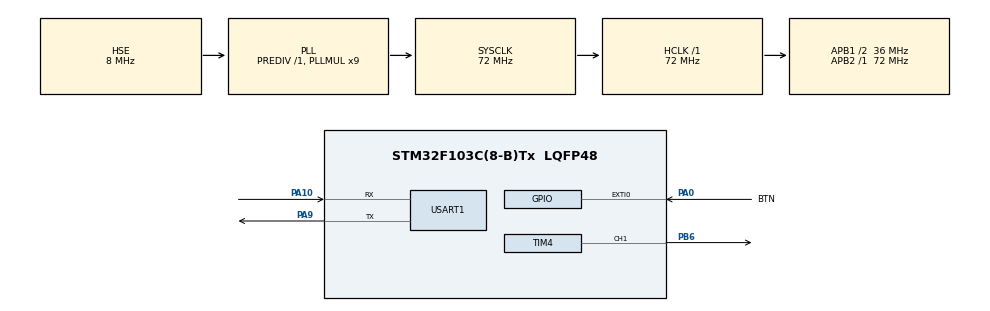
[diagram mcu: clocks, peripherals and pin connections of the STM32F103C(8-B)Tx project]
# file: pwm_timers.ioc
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Mcu.Family=STM32F1
Mcu.Name=STM32F103C(8-B)Tx
Mcu.Package=LQFP48
NVIC.EXTI0_IRQn=true\:0\:0\:false\:false\:true\:true\:true\:true
NVIC.PriorityGroup=NVIC_PRIORITYGROUP_4
NVIC.TIM4_IRQn=true\:0\:0\:false\:false\:true\:true\:true\:true
PA0-WKUP.GPIO_Label=BTN
PA0-WKUP.GPIO_ModeDefaultEXTI=GPIO_MODE_IT_RISING
PA0-WKUP.GPIO_PuPd=GPIO_PULLUP
PA0-WKUP.Signal=GPXTI0
PA10.Mode=Asynchronous
PA10.Signal=USART1_RX
PA13.Mode=Trace_Asynchronous_SW
PA13.Signal=SYS_JTMS-SWDIO
PA14.Mode=Trace_Asynchronous_SW
PA14.Signal=SYS_JTCK-SWCLK
PA9.Mode=Asynchronous
PA9.Signal=USART1_TX
PB3.Mode=Trace_Asynchronous_SW
PB3.Signal=SYS_JTDO-TRACESWO
PB6.Signal=S_TIM4_CH1
PD0-OSC_IN.Mode=HSE-External-Oscillator
PD0-OSC_IN.Signal=RCC_OSC_IN
PD1-OSC_OUT.Mode=HSE-External-Oscillator
PD1-OSC_OUT.Signal=RCC_OSC_OUT
ProjectManager.HeapSize=0x200
ProjectManager.StackSize=0x400
ProjectManager.TargetToolchain=CMake
RCC.AHBFreq_Value=72000000
RCC.APB1CLKDivider=RCC_HCLK_DIV2
RCC.APB1Freq_Value=36000000
RCC.APB1TimFreq_Value=72000000
RCC.APB2Freq_Value=72000000
RCC.APB2TimFreq_Value=72000000
RCC.HCLKFreq_Value=72000000
RCC.PLLMUL=RCC_PLL_MUL9
RCC.PLLSourceVirtual=RCC_PLLSOURCE_HSE
RCC.SYSCLKFreq_VALUE=72000000
RCC.SYSCLKSource=RCC_SYSCLKSOURCE_PLLCLK
RCC.USBFreq_Value=72000000
SH.S_TIM4_CH1.0=TIM4_CH1,PWM Generation1 CH1
TIM4.Channel-PWM\ Generation1\ CH1=TIM_CHANNEL_1
TIM4.Period=1199
TIM4.Prescaler=59999
TIM4.Pulse-PWM\ Generation1\ CH1=600
USART1.VirtualMode=VM_ASYNC
VP_TIM4_VS_ClockSourceINT.Mode=Internal
board=custom

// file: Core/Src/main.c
/* USER CODE BEGIN Header */
/**
  ******************************************************************************
  * @file           : main.c
  * @brief          : Main program body
  ******************************************************************************
  * @attention
  *
  * Copyright (c) 2026 STMicroelectronics.
  * All rights reserved.
  *
  * This software is licensed under terms that can be found in the LICENSE file
  * in the root directory of this software component.
  * If no LICENSE file comes with this software, it is provided AS-IS.
  *
  ******************************************************************************
  */
/* USER CODE END Header */
#include "main.h"

/* USER CODE BEGIN Includes */

#include <stdio.h>

/* USER CODE END Includes */

TIM_HandleTypeDef htim4;

UART_HandleTypeDef huart1;

void SystemClock_Config(void);
static void MX_GPIO_Init(void);
static void MX_USART1_UART_Init(void);
static void MX_TIM4_Init(void);

/* USER CODE BEGIN 0 */

// Send printf to uart1
int _write(int fd, char* ptr, int len) {
  HAL_StatusTypeDef hstatus;

  if (fd == 1 || fd == 2) {
    hstatus = HAL_UART_Transmit(&huart1, (uint8_t *) ptr, len, HAL_MAX_DELAY);
    if (hstatus == HAL_OK)
      return len;
    else
      return -1;
  }
  return -1;
}

/* USER CODE END 0 */

int main(void)
{

  /* MCU Configuration--------------------------------------------------------*/

  /* Reset of all peripherals, Initializes the Flash interface and the Systick. */
  HAL_Init();

  /* Configure the system clock */
  SystemClock_Config();

  /* Initialize all configured peripherals */
  MX_GPIO_Init();
  MX_USART1_UART_Init();
  MX_TIM4_Init();
  /* USER CODE BEGIN 2 */

  printf("Starting PWM\r\n");

  HAL_TIM_PWM_Start(&htim4, TIM_CHANNEL_1);
  __HAL_TIM_SET_COMPARE(&htim4, TIM_CHANNEL_1, 1000);

  /* USER CODE END 2 */

  /* Infinite loop */
  /* USER CODE BEGIN WHILE */
  uint32_t pwm_value = 0;
  int8_t pwm_change = 1;

  while (1)
  {
    //__HAL_TIM_SET_COMPARE(&htim4, TIM_CHANNEL_1, pwm_value);
    pwm_value += pwm_change;

    if (pwm_value >= 1200)
      pwm_change = -1;
    if (pwm_value <= 0)
      pwm_change = 1;

    printf("current PWM value: %lu\r\ncurrent PWM change: %d\r\n\n", pwm_value, pwm_change);

    /* USER CODE END WHILE */

  }
}

void SystemClock_Config(void)
{
  RCC_OscInitTypeDef RCC_OscInitStruct = {0};
  RCC_ClkInitTypeDef RCC_ClkInitStruct = {0};

  /** Initializes the RCC Oscillators according to the specified parameters
  * in the RCC_OscInitTypeDef structure.
  */
  RCC_OscInitStruct.OscillatorType = RCC_OSCILLATORTYPE_HSE;
  RCC_OscInitStruct.HSEState = RCC_HSE_ON;
  RCC_OscInitStruct.HSEPredivValue = RCC_HSE_PREDIV_DIV1;
  RCC_OscInitStruct.HSIState = RCC_HSI_ON;
  RCC_OscInitStruct.PLL.PLLState = RCC_PLL_ON;
  RCC_OscInitStruct.PLL.PLLSource = RCC_PLLSOURCE_HSE;
  RCC_OscInitStruct.PLL.PLLMUL = RCC_PLL_MUL9;
  if (HAL_RCC_OscConfig(&RCC_OscInitStruct) != HAL_OK)
  {
    Error_Handler();
  }

  /** Initializes the CPU, AHB and APB buses clocks
  */
  RCC_ClkInitStruct.ClockType = RCC_CLOCKTYPE_HCLK|RCC_CLOCKTYPE_SYSCLK
                              |RCC_CLOCKTYPE_PCLK1|RCC_CLOCKTYPE_PCLK2;
  RCC_ClkInitStruct.SYSCLKSource = RCC_SYSCLKSOURCE_PLLCLK;
  RCC_ClkInitStruct.AHBCLKDivider = RCC_SYSCLK_DIV1;
  RCC_ClkInitStruct.APB1CLKDivider = RCC_HCLK_DIV2;
  RCC_ClkInitStruct.APB2CLKDivider = RCC_HCLK_DIV1;

  if (HAL_RCC_ClockConfig(&RCC_ClkInitStruct, FLASH_LATENCY_2) != HAL_OK)
  {
    Error_Handler();
  }
}

static void MX_TIM4_Init(void)
{

  TIM_ClockConfigTypeDef sClockSourceConfig = {0};
  TIM_MasterConfigTypeDef sMasterConfig = {0};
  TIM_OC_InitTypeDef sConfigOC = {0};

  htim4.Instance = TIM4;
  htim4.Init.Prescaler = 9999;
  htim4.Init.CounterMode = TIM_COUNTERMODE_UP;
  htim4.Init.Period = 3599;
  htim4.Init.ClockDivision = TIM_CLOCKDIVISION_DIV1;
  htim4.Init.AutoReloadPreload = TIM_AUTORELOAD_PRELOAD_DISABLE;
  if (HAL_TIM_Base_Init(&htim4) != HAL_OK)
  {
    Error_Handler();
  }
  sClockSourceConfig.ClockSource = TIM_CLOCKSOURCE_INTERNAL;
  if (HAL_TIM_ConfigClockSource(&htim4, &sClockSourceConfig) != HAL_OK)
  {
    Error_Handler();
  }
  if (HAL_TIM_PWM_Init(&htim4) != HAL_OK)
  {
    Error_Handler();
  }
  sMasterConfig.MasterOutputTrigger = TIM_TRGO_RESET;
  sMasterConfig.MasterSlaveMode = TIM_MASTERSLAVEMODE_DISABLE;
  if (HAL_TIMEx_MasterConfigSynchronization(&htim4, &sMasterConfig) != HAL_OK)
  {
    Error_Handler();
  }
  sConfigOC.OCMode = TIM_OCMODE_PWM1;
  sConfigOC.Pulse = 700;
  sConfigOC.OCPolarity = TIM_OCPOLARITY_HIGH;
  sConfigOC.OCFastMode = TIM_OCFAST_DISABLE;
  if (HAL_TIM_PWM_ConfigChannel(&htim4, &sConfigOC, TIM_CHANNEL_1) != HAL_OK)
  {
    Error_Handler();
  }
  HAL_TIM_MspPostInit(&htim4);

}

static void MX_USART1_UART_Init(void)
{

  huart1.Instance = USART1;
  huart1.Init.BaudRate = 115200;
  huart1.Init.WordLength = UART_WORDLENGTH_8B;
  huart1.Init.StopBits = UART_STOPBITS_1;
  huart1.Init.Parity = UART_PARITY_NONE;
  huart1.Init.Mode = UART_MODE_TX_RX;
  huart1.Init.HwFlowCtl = UART_HWCONTROL_NONE;
  huart1.Init.OverSampling = UART_OVERSAMPLING_16;
  if (HAL_UART_Init(&huart1) != HAL_OK)
  {
    Error_Handler();
  }

}

static void MX_GPIO_Init(void)
{
  GPIO_InitTypeDef GPIO_InitStruct = {0};

  /* GPIO Ports Clock Enable */
  __HAL_RCC_GPIOD_CLK_ENABLE();
  __HAL_RCC_GPIOA_CLK_ENABLE();
  __HAL_RCC_GPIOB_CLK_ENABLE();

  /*Configure GPIO pin : BTN_Pin */
  GPIO_InitStruct.Pin = BTN_Pin;
  GPIO_InitStruct.Mode = GPIO_MODE_IT_RISING;
  GPIO_InitStruct.Pull = GPIO_PULLUP;
  HAL_GPIO_Init(BTN_GPIO_Port, &GPIO_InitStruct);

  /* EXTI interrupt init*/
  HAL_NVIC_SetPriority(EXTI0_IRQn, 0, 0);
  HAL_NVIC_EnableIRQ(EXTI0_IRQn);

}

void Error_Handler(void)
{
  __disable_irq();
  while (1)
  {
  }
}
